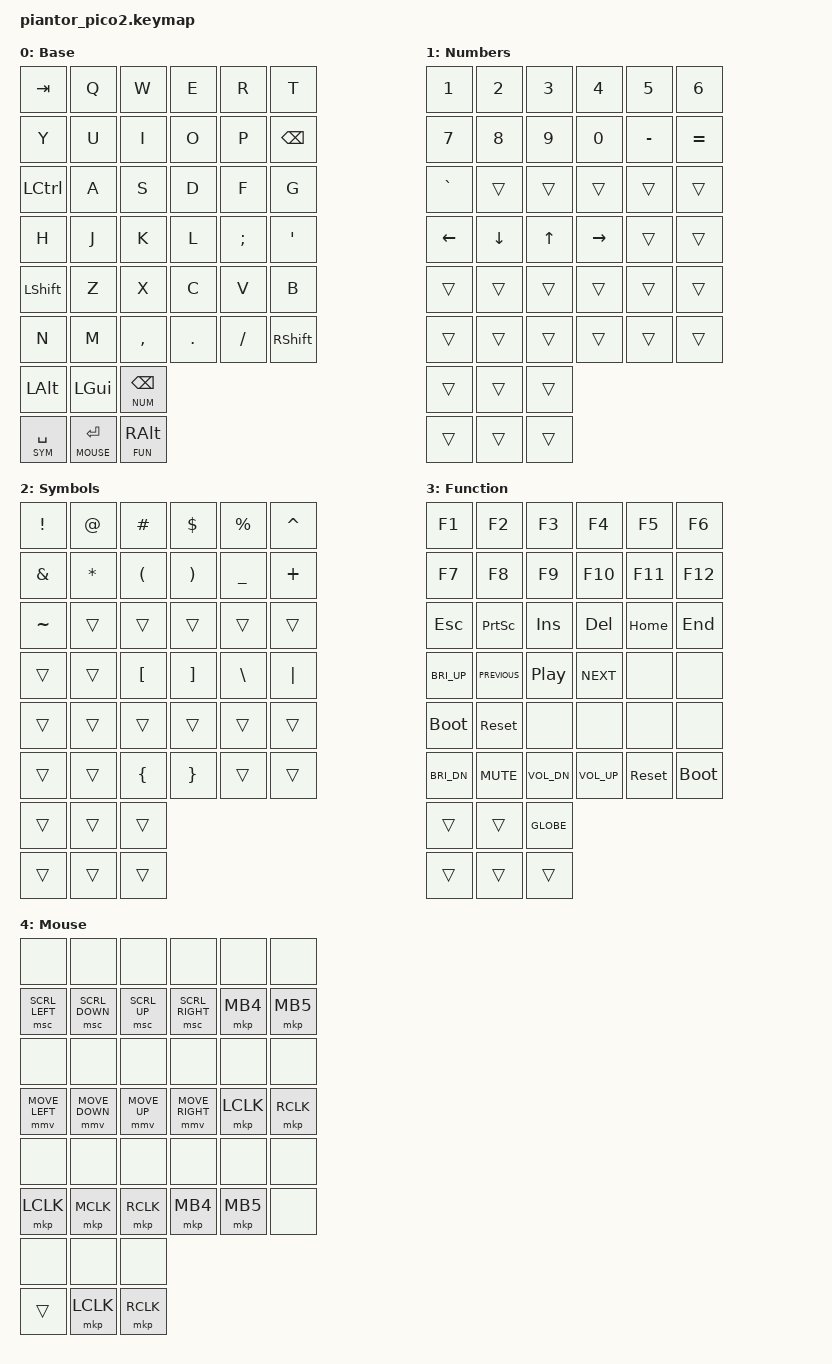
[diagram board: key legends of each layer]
#include <behaviors.dtsi>
#include <dt-bindings/zmk/keys.h>
#include <dt-bindings/zmk/pointing.h>

#define BASE 0
#define NUM  1
#define SYM  2
#define FUN  3
#define MOUSE 4

/ {
    keymap {
        compatible = "zmk,keymap";

        base {
            display-name = "Base";
            bindings = <
                &kp TAB           &kp Q             &kp W          &kp E          &kp R          &kp T
                &kp Y             &kp U             &kp I          &kp O          &kp P          &kp BACKSPACE

                &kp LEFT_CONTROL  &kp A             &kp S          &kp D          &kp F          &kp G
                &kp H             &kp J             &kp K          &kp L          &kp SEMICOLON  &kp SINGLE_QUOTE

                &kp LEFT_SHIFT    &kp Z             &kp X          &kp C          &kp V          &kp B
                &kp N             &kp M             &kp COMMA      &kp DOT        &kp SLASH      &kp RIGHT_SHIFT

                &kp LEFT_ALT      &kp LEFT_GUI      &lt NUM BACKSPACE
                &lt SYM SPACE     &lt MOUSE ENTER   &lt FUN RIGHT_ALT
            >;
        };

        numbers {
            display-name = "Numbers";
            bindings = <
                &kp NUMBER_1      &kp NUMBER_2         &kp NUMBER_3          &kp NUMBER_4      &kp NUMBER_5      &kp NUMBER_6
                &kp NUMBER_7      &kp NUMBER_8         &kp NUMBER_9          &kp NUMBER_0      &kp MINUS         &kp EQUAL

                &kp GRAVE         &trans               &trans                &trans            &trans            &trans
                &kp LEFT          &kp DOWN             &kp UP                &kp RIGHT         &trans            &trans

                &trans            &trans               &trans                &trans            &trans            &trans
                &trans            &trans               &trans                &trans            &trans            &trans

                &trans            &trans               &trans
                &trans            &trans               &trans
            >;
        };

        symbols {
            display-name = "Symbols";
            bindings = <
                &kp EXCLAMATION   &kp AT_SIGN          &kp HASH              &kp DOLLAR        &kp PERCENT       &kp CARET
                &kp AMPERSAND     &kp ASTERISK         &kp LEFT_PARENTHESIS  &kp RIGHT_PARENTHESIS &kp UNDERSCORE &kp PLUS

                &kp TILDE         &trans               &trans                &trans            &trans            &trans
                &trans            &trans               &kp LEFT_BRACKET      &kp RIGHT_BRACKET &kp BACKSLASH    &kp PIPE

                &trans            &trans               &trans                &trans            &trans            &trans
                &trans            &trans               &kp LEFT_BRACE        &kp RIGHT_BRACE   &trans            &trans

                &trans            &trans          &trans
                &trans            &trans          &trans
            >;
        };

        function {
            display-name = "Function";
            bindings = <
                &kp F1            &kp F2       &kp F3          &kp F4       &kp F5       &kp F6
                &kp F7            &kp F8       &kp F9          &kp F10      &kp F11      &kp F12

                &kp ESCAPE        &kp PRINTSCREEN &kp INSERT   &kp DELETE   &kp HOME     &kp END
                &kp C_BRI_UP      &kp C_PREVIOUS &kp C_PLAY_PAUSE &kp C_NEXT &none       &none

                &bootloader       &sys_reset   &none           &none        &none        &none
                &kp C_BRI_DN      &kp C_MUTE   &kp C_VOL_DN    &kp C_VOL_UP &sys_reset   &bootloader

                &trans            &trans       &kp GLOBE
                &trans            &trans       &trans
            >;
        };

        mouse {
            display-name = "Mouse";
            bindings = <
                &none             &none             &none             &none              &none              &none
                &msc SCRL_LEFT    &msc SCRL_DOWN    &msc SCRL_UP      &msc SCRL_RIGHT     &mkp MB4           &mkp MB5

                &none             &none             &none             &none              &none              &none
                &mmv MOVE_LEFT    &mmv MOVE_DOWN    &mmv MOVE_UP      &mmv MOVE_RIGHT     &mkp LCLK          &mkp RCLK

                &none             &none             &none             &none              &none              &none
                &mkp LCLK         &mkp MCLK         &mkp RCLK         &mkp MB4            &mkp MB5           &none

                &none             &none             &none
                &trans            &mkp LCLK         &mkp RCLK
            >;
        };
    };
};
